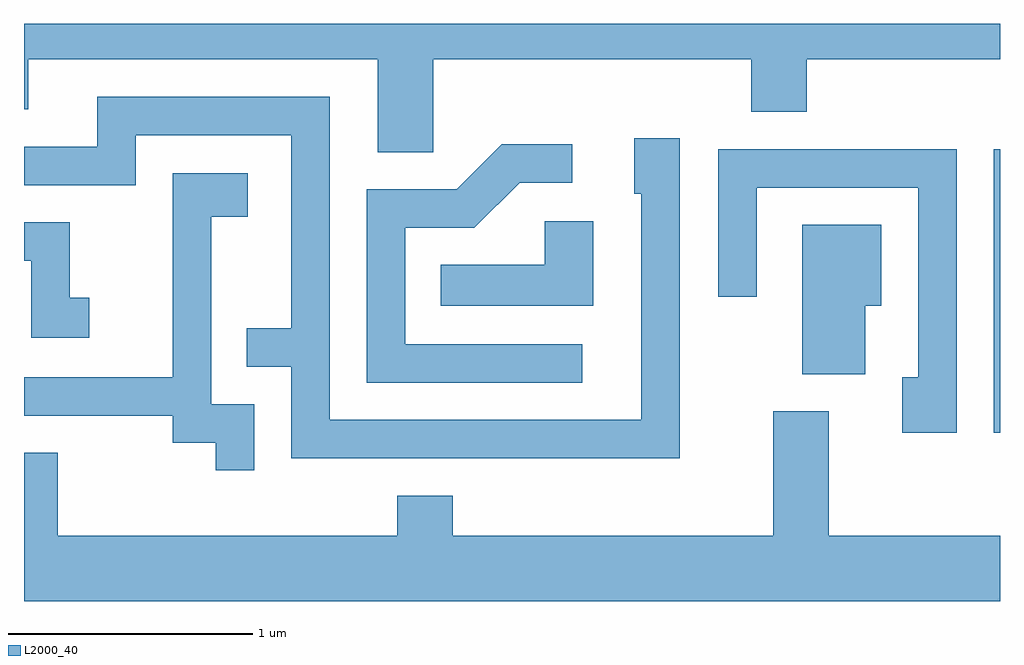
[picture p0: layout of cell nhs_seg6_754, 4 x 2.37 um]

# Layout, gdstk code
import gdstk
lib = gdstk.Library(unit=1e-6, precision=1e-09)
def R(c, l, rs):  # rectangles x0, y0, x1, y1
    for r in rs: c.add(gdstk.rectangle(r[:2], r[2:], *l))
def P(c, l, *ps):  # polygons
    for p in ps: c.add(gdstk.Polygon(p, *l))
L2000_40 = (2000, 40)

nhs_seg6_754 = lib.new_cell('nhs_seg6_754')
R(nhs_seg6_754, L2000_40, [(211.586,1568.486,211.611,1569.649)])
P(nhs_seg6_754, L2000_40, [(209.289,1570.016),(210.591,1570.016),(210.591,1569.801),(210.819,1569.801),(210.819,1570.016),(211.611,1570.016),(211.611,1570.162),(207.611,1570.162),(207.611,1569.811),(207.629,1569.811),(207.629,1570.016),(209.061,1570.016),(209.061,1569.636),(209.289,1569.636)],
  [(210.299,1569.694),(210.111,1569.694),(210.111,1569.466),(210.141,1569.466),(210.141,1568.539),(208.864,1568.539),(208.864,1569.864),(207.911,1569.864),(207.911,1569.659),(207.611,1569.659),(207.611,1569.501),(208.069,1569.501),(208.069,1569.706),(208.706,1569.706),(208.706,1568.914),(208.523,1568.914),(208.523,1568.756),(208.706,1568.756),(208.706,1568.381),(210.299,1568.381)],
  [(209.898,1568.849),(209.174,1568.849),(209.174,1569.326),(209.457,1569.326),(209.642,1569.511),(209.858,1569.511),(209.858,1569.669),(209.569,1569.669),(209.384,1569.484),(209.016,1569.484),(209.016,1568.691),(209.898,1568.691)],
  [(211.434,1569.649),(210.456,1569.649),(210.456,1569.043),(210.614,1569.043),(210.614,1569.491),(211.276,1569.491),(211.276,1568.714),(211.211,1568.714),(211.211,1568.486),(211.434,1568.486)],
  [(208.554,1568.604),(208.379,1568.604),(208.379,1569.371),(208.529,1569.371),(208.529,1569.549),(208.221,1569.549),(208.221,1568.714),(207.611,1568.714),(207.611,1568.556),(208.221,1568.556),(208.221,1568.446),(208.396,1568.446),(208.396,1568.333),(208.554,1568.333)],
  [(209.944,1569.354),(209.746,1569.354),(209.746,1569.174),(209.318,1569.174),(209.318,1569.006),(209.944,1569.006)],
  [(207.878,1569.039),(207.799,1569.039),(207.799,1569.349),(207.611,1569.349),(207.611,1569.191),(207.641,1569.191),(207.641,1568.876),(207.878,1568.876)],
  [(211.059,1569.006),(211.124,1569.006),(211.124,1569.339),(210.801,1569.339),(210.801,1568.726),(211.059,1568.726)],
  [(211.611,1568.064),(210.909,1568.064),(210.909,1568.574),(210.681,1568.574),(210.681,1568.064),(209.369,1568.064),(209.369,1568.229),(209.141,1568.229),(209.141,1568.064),(207.749,1568.064),(207.749,1568.404),(207.611,1568.404),(207.611,1567.796),(211.611,1567.796)])

lib.write_gds('nhs_seg6_754.gds')
